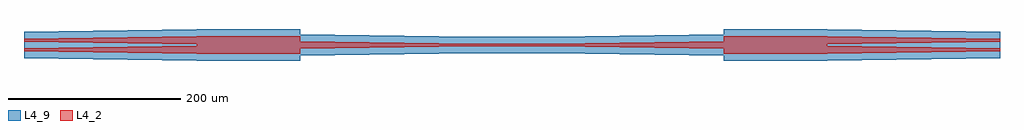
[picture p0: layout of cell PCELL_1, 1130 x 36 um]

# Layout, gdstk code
from math import pi, radians
import gdstk
lib = gdstk.Library(unit=1e-6, precision=5e-09)
def R(c, l, rs):  # rectangles x0, y0, x1, y1
    for r in rs: c.add(gdstk.rectangle(r[:2], r[2:], *l))
def P(c, l, *ps):  # polygons
    for p in ps: c.add(gdstk.Polygon(p, *l))
L4_2 = (4, 2)
L4_9 = (4, 9)

mmi_1x2_tapered_1_mmi_mm = lib.new_cell('MMI_1x2_tapered_1_MMI_mmi_trace')
R(mmi_1x2_tapered_1_mmi_mm, L4_2, [(0,-10,120,10)])
P(mmi_1x2_tapered_1_mmi_mm, L4_9, [(0,-18),(120,-18),(120,-10),(120,10),(120,18),(0,18),(0,10),(0,-10)])

mmi_1x2_tapered_1_transi = lib.new_cell('MMI_1x2_tapered_1_TRANSITION1')
P(mmi_1x2_tapered_1_transi, L4_2, [(120,-1),(120,-10),(320,-7.4),(320,-3.6)])
P(mmi_1x2_tapered_1_transi, L4_9, [(120,7),(120,-1),(120,-10),(120,-18),(320,-15.4),(320,-7.4),(320,-3.6),(320,4.4)])

c_mmi_1x2_tapered_1_transi = lib.new_cell('MMI_1x2_tapered_1_TRANSITION2')
P(c_mmi_1x2_tapered_1_transi, L4_2, [(120,10),(120,1),(320,3.6),(320,7.4)])
P(c_mmi_1x2_tapered_1_transi, L4_9, [(120,18),(120,10),(120,1),(120,-7),(320,-4.4),(320,3.6),(320,7.4),(320,15.4)])

mmi_1x2_tapered_1 = lib.new_cell('MMI_1x2_tapered_1')
mmi_1x2_tapered_1.add(gdstk.Reference(mmi_1x2_tapered_1_mmi_mm, (0,0)))
mmi_1x2_tapered_1.add(gdstk.Reference(mmi_1x2_tapered_1_transi, (0,0)))
mmi_1x2_tapered_1.add(gdstk.Reference(c_mmi_1x2_tapered_1_transi, (0,0)))

transition_wire_wire_lin = lib.new_cell('TRANSITION_WIRE_WIRE_LINEAR_1')
P(transition_wire_wire_lin, L4_2, [(0,4.5),(0,-4.5),(200,-1.55),(200,1.55)])
P(transition_wire_wire_lin, L4_9, [(0,12.5),(0,4.5),(0,-4.5),(0,-12.5),(200,-9.55),(200,-1.55),(200,1.55),(200,9.55)])

mmi_2x1_tapered_1_mmi_mm = lib.new_cell('MMI_2x1_tapered_1_MMI_mmi_trace')
R(mmi_2x1_tapered_1_mmi_mm, L4_2, [(0,-10,120,10)])
P(mmi_2x1_tapered_1_mmi_mm, L4_9, [(0,-18),(120,-18),(120,-10),(120,10),(120,18),(0,18),(0,10),(0,-10)])

mmi_2x1_tapered_1_transi = lib.new_cell('MMI_2x1_tapered_1_TRANSITION1')
P(mmi_2x1_tapered_1_transi, L4_2, [(0,-10),(0,-1),(-200,-3.6),(-200,-7.4)])
P(mmi_2x1_tapered_1_transi, L4_9, [(0,-18),(0,-10),(0,-1),(0,7),(-200,4.4),(-200,-3.6),(-200,-7.4),(-200,-15.4)])

c_mmi_2x1_tapered_1_transi = lib.new_cell('MMI_2x1_tapered_1_TRANSITION2')
P(c_mmi_2x1_tapered_1_transi, L4_2, [(0,1),(0,10),(-200,7.4),(-200,3.6)])
P(c_mmi_2x1_tapered_1_transi, L4_9, [(0,-7),(0,1),(0,10),(0,18),(-200,15.4),(-200,7.4),(-200,3.6),(-200,-4.4)])

mmi_2x1_tapered_1 = lib.new_cell('MMI_2x1_tapered_1')
mmi_2x1_tapered_1.add(gdstk.Reference(mmi_2x1_tapered_1_mmi_mm, (0,0)))
mmi_2x1_tapered_1.add(gdstk.Reference(mmi_2x1_tapered_1_transi, (0,0)))
mmi_2x1_tapered_1.add(gdstk.Reference(c_mmi_2x1_tapered_1_transi, (0,0)))

pcell_1_link1 = lib.new_cell('PCELL_1_link1')
R(pcell_1_link1, L4_2, [(320,-1.55,410,1.55)])
P(pcell_1_link1, L4_9, [(320,-9.55),(410,-9.55),(410,-1.55),(410,1.55),(410,9.55),(320,9.55),(320,1.55),(320,-1.55)])

pcell_1 = lib.new_cell('PCELL_1')
pcell_1.add(gdstk.Reference(mmi_1x2_tapered_1, (610,0)))
pcell_1.add(gdstk.Reference(transition_wire_wire_lin, (610,0), rotation=pi, x_reflection=True))
pcell_1.add(gdstk.Reference(mmi_2x1_tapered_1, (0,0)))
pcell_1.add(gdstk.Reference(transition_wire_wire_lin, (120,0)))
pcell_1.add(gdstk.Reference(pcell_1_link1, (0,0)))

lib.write_gds('PCELL_1.gds')
